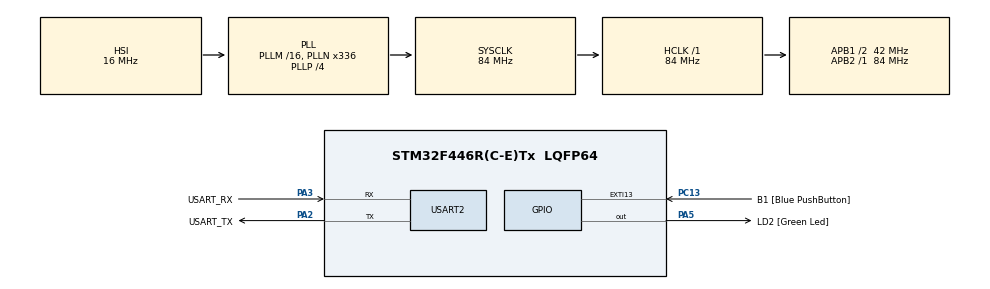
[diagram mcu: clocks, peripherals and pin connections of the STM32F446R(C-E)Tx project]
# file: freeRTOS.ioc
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FREERTOS.Tasks01=defaultTask,24,128,StartDefaultTask,Default,NULL,Dynamic,NULL,NULL
FREERTOS.configUSE_NEWLIB_REENTRANT=1
Mcu.Family=STM32F4
Mcu.Name=STM32F446R(C-E)Tx
Mcu.Package=LQFP64
NVIC.PriorityGroup=NVIC_PRIORITYGROUP_4
NVIC.TIM1_UP_TIM10_IRQn=true\:15\:0\:false\:false\:true\:false\:false\:true\:true
NVIC.TimeBase=TIM1_UP_TIM10_IRQn
NVIC.TimeBaseIP=TIM1
PA13.GPIO_Label=TMS
PA13.Mode=Serial_Wire
PA13.Signal=SYS_JTMS-SWDIO
PA14.GPIO_Label=TCK
PA14.Mode=Serial_Wire
PA14.Signal=SYS_JTCK-SWCLK
PA2.GPIO_Label=USART_TX
PA2.Mode=Asynchronous
PA2.Signal=USART2_TX
PA3.GPIO_Label=USART_RX
PA3.Mode=Asynchronous
PA3.Signal=USART2_RX
PA5.GPIO_Label=LD2 [Green Led]
PA5.Signal=GPIO_Output
PB3.GPIO_Label=SWO
PB3.Signal=SYS_JTDO-SWO
PC13.GPIO_Label=B1 [Blue PushButton]
PC13.GPIO_ModeDefaultEXTI=GPIO_MODE_IT_FALLING
PC13.Signal=GPXTI13
PC14-OSC32_IN.Mode=LSE-External-Oscillator
PC14-OSC32_IN.Signal=RCC_OSC32_IN
PC15-OSC32_OUT.Mode=LSE-External-Oscillator
PC15-OSC32_OUT.Signal=RCC_OSC32_OUT
PH0-OSC_IN.Mode=HSE-External-Oscillator
PH0-OSC_IN.Signal=RCC_OSC_IN
PH1-OSC_OUT.Mode=HSE-External-Oscillator
PH1-OSC_OUT.Signal=RCC_OSC_OUT
ProjectManager.HeapSize=0x200
ProjectManager.StackSize=0x400
ProjectManager.TargetToolchain=STM32CubeIDE
RCC.48MHZClocksFreq_Value=84000000
RCC.AHBFreq_Value=84000000
RCC.APB1CLKDivider=RCC_HCLK_DIV2
RCC.APB1Freq_Value=42000000
RCC.APB1TimFreq_Value=84000000
RCC.APB2Freq_Value=84000000
RCC.APB2TimFreq_Value=84000000
RCC.CortexFreq_Value=84000000
RCC.FLatency-AdvancedSettings=FLASH_LATENCY_2
RCC.HCLKFreq_Value=84000000
RCC.HSE_VALUE=8000000
RCC.HSI_VALUE=16000000
RCC.PLLN=336
RCC.PLLP=RCC_PLLP_DIV4
RCC.SYSCLKFreq_VALUE=84000000
RCC.SYSCLKSource=RCC_SYSCLKSOURCE_PLLCLK
RCC.USBFreq_Value=168000000
RCC.VCOOutputFreq_Value=336000000
USART2.VirtualMode=VM_ASYNC
VP_FREERTOS_VS_CMSIS_V2.Mode=CMSIS_V2
VP_SYS_VS_tim1.Mode=TIM1
board=NUCLEO-F446RE

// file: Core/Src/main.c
/* USER CODE BEGIN Header */
/**
  ******************************************************************************
  * @file           : main.c
  * @brief          : Main program body
  ******************************************************************************
  * @attention
  *
  * Copyright (c) 2026 STMicroelectronics.
  * All rights reserved.
  *
  * This software is licensed under terms that can be found in the LICENSE file
  * in the root directory of this software component.
  * If no LICENSE file comes with this software, it is provided AS-IS.
  *
  ******************************************************************************
  */
/* USER CODE END Header */
#include "main.h"
#include "cmsis_os.h"

/* USER CODE BEGIN Includes */
#include "ring_buffer.h"
#include "FreeRTOS.h"
#include "task.h"
#include "semphr.h"
#include <stdio.h>
/* USER CODE END Includes */

UART_HandleTypeDef huart2;

/* Definitions for defaultTask */
osThreadId_t defaultTaskHandle;
const osThreadAttr_t defaultTask_attributes = {
  .name = "defaultTask",
  .stack_size = 128 * 4,
  .priority = (osPriority_t) osPriorityNormal,
};
/* USER CODE BEGIN PV */
RingBuf_t rb;
/* USER CODE END PV */

void SystemClock_Config(void);
static void MX_GPIO_Init(void);
static void MX_USART2_UART_Init(void);
void StartDefaultTask(void *argument);

/* USER CODE BEGIN PFP */
void vProducerTask(void *pvParameters);
void vConsumerTask(void *pvParameters);
/* USER CODE END PFP */

/* USER CODE BEGIN 0 */

int __io_putchar(int ch)
{
    HAL_UART_Transmit(&huart2, (uint8_t*)&ch, 1, HAL_MAX_DELAY);
    return ch;
}
void vProducerTask(void *pvParameters)
{
    uint8_t counter = 0;

    for(;;){
    	if(RB_Write(&rb,counter))
    	{
    		printf("Written: %d\n", counter);
    	}
    	else
    	{
    	    printf("Buffer full\n");
    	}

        counter++;
        vTaskDelay(pdMS_TO_TICKS(500));
    }
}

void vConsumerTask(void *pvParameters)
{
    uint8_t received = 0;
    for(;;){
        	if(RB_Read(&rb,&received))
        	{
        		printf("Read: %d\n", received);
        	}
        	else
        	{
        	    printf("Buffer empty\n");
        	}

            vTaskDelay(pdMS_TO_TICKS(1000));
    }
}

/* USER CODE END 0 */

int main(void)
{

  /* MCU Configuration--------------------------------------------------------*/

  /* Reset of all peripherals, Initializes the Flash interface and the Systick. */
  HAL_Init();

  /* Configure the system clock */
  SystemClock_Config();

  /* Initialize all configured peripherals */
  MX_GPIO_Init();
  MX_USART2_UART_Init();
  /* USER CODE BEGIN 2 */
  RB_Init(&rb);
  /* USER CODE END 2 */

  /* Init scheduler */
  osKernelInitialize();

  /* Create the thread(s) */
  /* creation of defaultTask */
  defaultTaskHandle = osThreadNew(StartDefaultTask, NULL, &defaultTask_attributes);

  /* USER CODE BEGIN RTOS_THREADS */
  /* add threads, ... */
  xTaskCreate(vProducerTask, "Producer", 128, NULL, 1, NULL);
  xTaskCreate(vConsumerTask, "Consumer", 128, NULL, 1, NULL);

  /* USER CODE END RTOS_THREADS */

  /* Start scheduler */
  osKernelStart();

  /* We should never get here as control is now taken by the scheduler */

  /* Infinite loop */
  while (1)
  {

  }
}

void SystemClock_Config(void)
{
  RCC_OscInitTypeDef RCC_OscInitStruct = {0};
  RCC_ClkInitTypeDef RCC_ClkInitStruct = {0};

  /** Configure the main internal regulator output voltage
  */
  __HAL_RCC_PWR_CLK_ENABLE();
  __HAL_PWR_VOLTAGESCALING_CONFIG(PWR_REGULATOR_VOLTAGE_SCALE3);

  /** Initializes the RCC Oscillators according to the specified parameters
  * in the RCC_OscInitTypeDef structure.
  */
  RCC_OscInitStruct.OscillatorType = RCC_OSCILLATORTYPE_HSI;
  RCC_OscInitStruct.HSIState = RCC_HSI_ON;
  RCC_OscInitStruct.HSICalibrationValue = RCC_HSICALIBRATION_DEFAULT;
  RCC_OscInitStruct.PLL.PLLState = RCC_PLL_ON;
  RCC_OscInitStruct.PLL.PLLSource = RCC_PLLSOURCE_HSI;
  RCC_OscInitStruct.PLL.PLLM = 16;
  RCC_OscInitStruct.PLL.PLLN = 336;
  RCC_OscInitStruct.PLL.PLLP = RCC_PLLP_DIV4;
  RCC_OscInitStruct.PLL.PLLQ = 2;
  RCC_OscInitStruct.PLL.PLLR = 2;
  if (HAL_RCC_OscConfig(&RCC_OscInitStruct) != HAL_OK)
  {
    Error_Handler();
  }

  /** Initializes the CPU, AHB and APB buses clocks
  */
  RCC_ClkInitStruct.ClockType = RCC_CLOCKTYPE_HCLK|RCC_CLOCKTYPE_SYSCLK
                              |RCC_CLOCKTYPE_PCLK1|RCC_CLOCKTYPE_PCLK2;
  RCC_ClkInitStruct.SYSCLKSource = RCC_SYSCLKSOURCE_PLLCLK;
  RCC_ClkInitStruct.AHBCLKDivider = RCC_SYSCLK_DIV1;
  RCC_ClkInitStruct.APB1CLKDivider = RCC_HCLK_DIV2;
  RCC_ClkInitStruct.APB2CLKDivider = RCC_HCLK_DIV1;

  if (HAL_RCC_ClockConfig(&RCC_ClkInitStruct, FLASH_LATENCY_2) != HAL_OK)
  {
    Error_Handler();
  }
}

static void MX_USART2_UART_Init(void)
{

  huart2.Instance = USART2;
  huart2.Init.BaudRate = 115200;
  huart2.Init.WordLength = UART_WORDLENGTH_8B;
  huart2.Init.StopBits = UART_STOPBITS_1;
  huart2.Init.Parity = UART_PARITY_NONE;
  huart2.Init.Mode = UART_MODE_TX_RX;
  huart2.Init.HwFlowCtl = UART_HWCONTROL_NONE;
  huart2.Init.OverSampling = UART_OVERSAMPLING_16;
  if (HAL_UART_Init(&huart2) != HAL_OK)
  {
    Error_Handler();
  }

}

static void MX_GPIO_Init(void)
{
  GPIO_InitTypeDef GPIO_InitStruct = {0};

  /* GPIO Ports Clock Enable */
  __HAL_RCC_GPIOC_CLK_ENABLE();
  __HAL_RCC_GPIOH_CLK_ENABLE();
  __HAL_RCC_GPIOA_CLK_ENABLE();
  __HAL_RCC_GPIOB_CLK_ENABLE();

  /*Configure GPIO pin Output Level */
  HAL_GPIO_WritePin(LD2_GPIO_Port, LD2_Pin, GPIO_PIN_RESET);

  /*Configure GPIO pin : B1_Pin */
  GPIO_InitStruct.Pin = B1_Pin;
  GPIO_InitStruct.Mode = GPIO_MODE_IT_FALLING;
  GPIO_InitStruct.Pull = GPIO_NOPULL;
  HAL_GPIO_Init(B1_GPIO_Port, &GPIO_InitStruct);

  /*Configure GPIO pin : LD2_Pin */
  GPIO_InitStruct.Pin = LD2_Pin;
  GPIO_InitStruct.Mode = GPIO_MODE_OUTPUT_PP;
  GPIO_InitStruct.Pull = GPIO_NOPULL;
  GPIO_InitStruct.Speed = GPIO_SPEED_FREQ_LOW;
  HAL_GPIO_Init(LD2_GPIO_Port, &GPIO_InitStruct);

}

void StartDefaultTask(void *argument)
{
  for(;;)
  {
    osDelay(1);
  }
}

void HAL_TIM_PeriodElapsedCallback(TIM_HandleTypeDef *htim)
{
  if (htim->Instance == TIM1)
  {
    HAL_IncTick();
  }
}

void Error_Handler(void)
{
  __disable_irq();
  while (1)
  {
  }
}
